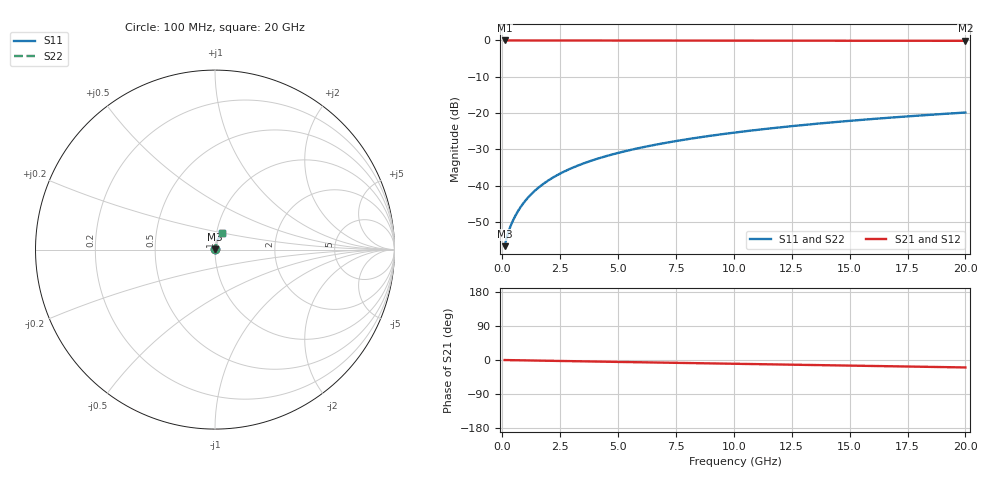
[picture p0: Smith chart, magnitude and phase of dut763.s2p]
! Touchstone file exported from HFSS 2026.1.0
!  File:  C:/ffzhzh/LocalFiles/Ansys_Project_Files/temp_train_BSMRDL_763_1783169062_51560.aedt
!  Generated:  08:45:32 PM Jul  4, 2026
!  Design:  BSMRDL
!  Project:  temp_train_BSMRDL_763_1783169062_51560
! Variables:
!  h_bsmrdl = 4.71um
!  h_ox = 20um
!  h_rdl = 5um
!  h_sub = 80um
!  h_tmrdl = 5um
!  h_tsv = 80um
!  h_via = 3um
!  l_bsmrdl = 319.13um
!  l_sub = 719.13um
!  l_tmrdl = 200um
!  m_sub = 200um
!  pitch = 33.26um
!  r_tsv = 6um
!  s_tmrdl = 10um
!  w_bsmrdl = 22.51um
!  w_sub = 500um
!  w_tmrdl = 12um
!  x_tsv_center1 = 206um
!  x_tsv_center2 = 547.64um
!  x_tsv_center3 = 759.64um
!  x_tsv_center4 = 1101.28um
!  x_tsv_center5 = 1313.28um
!  x_tsv_center6 = 1654.92um
# GHz S MA R 50.000000
! Terminal data exported
! Port[1] = BSM_RDL1_1_T1
! Port[2] = BSM_RDL1_1_T2
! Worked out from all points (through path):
!   200 points, 100 MHz to 20 GHz, reference 50 ohm
!   highest |S21| = -0.01 dB at 100 MHz (marker M1); lowest = -0.1 dB at 20 GHz (marker M2)
!   group delay of S21, straight-line fit = 2.72 ps
!   lowest |S11| = -56.6 dB at 100 MHz (marker M3), VSWR 1.00, Z = 50.1 + j0.0755 ohm
!   |S11| at or under -10 dB: start of sweep to end of sweep
!   |S22| runs from -56.6 to -19.9 dB; largest |S21 - S12| = 4.2e-15
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0.1  0.001471 30.8  0.9987 -0.1  0.9987 -0.1  0.001471 30.8
! Gamma 0 0 0 0
! Port Impedance 50 0 50 0
0.2  0.00198 45.3  0.9986 -0.2  0.9986 -0.2  0.00198 45.3
0.3  0.002495 53.1  0.9985 -0.3  0.9985 -0.3  0.002495 53.1
0.4  0.003005 58.4  0.9984 -0.4  0.9984 -0.4  0.003005 58.4
0.5  0.003522 62.4  0.9984 -0.5  0.9984 -0.5  0.003522 62.4
0.6  0.004049 65.4  0.9983 -0.6  0.9983 -0.6  0.004049 65.4
0.8  0.005131 69.8  0.9983 -0.8  0.9983 -0.8  0.005131 69.8
1  0.006239 72.6  0.9982 -1.0  0.9982 -1.0  0.006239 72.6
1.2  0.007362 74.5  0.9981 -1.2  0.9981 -1.2  0.007362 74.5
1.4  0.008493 75.8  0.9981 -1.4  0.9981 -1.4  0.008493 75.8
1.7  0.01019 77.1  0.998 -1.7  0.998 -1.7  0.01019 77.1
2.2  0.01302 78.2  0.9977 -2.2  0.9977 -2.2  0.01302 78.2
2.8  0.01638 78.6  0.9974 -2.9  0.9974 -2.9  0.01638 78.6
3.5  0.02023 78.6  0.997 -3.6  0.997 -3.6  0.02023 78.6
4.2  0.02401 78.4  0.9966 -4.3  0.9966 -4.3  0.02401 78.4
5  0.02826 77.9  0.9962 -5.0  0.9962 -5.0  0.02826 78.0
6.8  0.0376 76.8  0.9951 -6.8  0.9951 -6.8  0.0376 76.8
8.3  0.04522 75.7  0.9942 -8.3  0.9942 -8.3  0.04521 75.7
10.1  0.05422 74.3  0.9932 -10.1  0.9932 -10.1  0.05422 74.4
13.4  0.07043 71.7  0.9914 -13.3  0.9914 -13.3  0.07043 71.8
16.7  0.08626 69.0  0.9894 -16.5  0.9894 -16.5  0.08626 69.0
20  0.1017 66.1  0.9873 -19.7  0.9873 -19.7  0.1017 66.2
